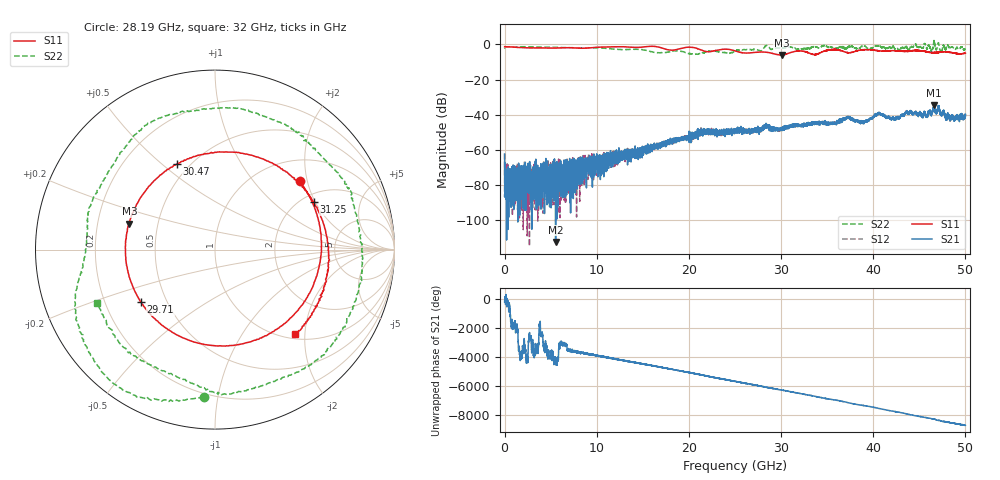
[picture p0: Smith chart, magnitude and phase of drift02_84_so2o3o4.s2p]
!Created with skrf (http://scikit-rf.org).
# Hz S RI R 50.0
!freq ReS11 ImS11 ReS21 ImS21 ReS12 ImS12 ReS22 ImS22
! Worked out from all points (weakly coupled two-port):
!   10001 points, 300 kHz to 50 GHz, reference 50 ohm
!   highest |S21| = -34.53 dB at 46.59 GHz (marker M1); lowest = -112.3 dB at 5.535 GHz (marker M2)
!   lowest |S11| = -6.1 dB at 30.1 GHz (marker M3), VSWR 2.98, Z = 17.1 + j6.55 ohm
!   |S11| at or under -10 dB: nowhere
!   |S22| runs from -5.7 to 2.2 dB; largest |S21 - S12| = 0.0034
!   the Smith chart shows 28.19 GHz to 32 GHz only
!   S11 on the Smith chart (normalised r, x): 28.19 GHz: 1.49, +1.80; 29.71 GHz: 0.36, -0.28; 30.47 GHz: 0.43, +0.56; 31.25 GHz: 2.32, +1.95; 32 GHz: 1.09, -1.79
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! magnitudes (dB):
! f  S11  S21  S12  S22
! 300 kHz  -1.3  -62.4  -62.1  -2.0
! 290.3 MHz  -1.3  -82.1  -72.2  -1.4
! 5.535 GHz  -2.1  -112.3  -70.5  -1.7
! 8.335 GHz  -2.2  -76.9  -68.3  -1.9
! 16.67 GHz  -1.5  -57.3  -59.3  -4.7
! 21.44 GHz  -3.4  -51.3  -49.5  -4.9
! 25 GHz  -3.7  -48.7  -48.9  -3.9
! 28.19 GHz  -4.3  -46.7  -46.9  -1.7
! 29.71 GHz  -5.9  -48.5  -48.6  -2.1
! 30.1 GHz  -6.1  -48.8  -47.4  -2.0
! 30.47 GHz  -5.7  -46.9  -46.6  -1.7
! 31.25 GHz  -4.3  -46.3  -46.4  -1.8
! 32 GHz  -3.7  -46.1  -45.6  -2.8
! 33.34 GHz  -5.5  -44.6  -44.8  -1.5
! 35.61 GHz  -3.0  -45.0  -45.1  -1.6
! 37.29 GHz  -4.7  -41.4  -42.1  -1.2
! 38.92 GHz  -3.1  -44.2  -44.3  -1.4
! 40.67 GHz  -3.6  -39.4  -39.1  -0.8
! 41.67 GHz  -3.6  -41.6  -40.9  -1.9
! 46.59 GHz  -4.8  -34.5  -35.0  1.6
! 48.54 GHz  -4.6  -41.1  -41.5  -1.6
! 50 GHz  -4.9  -39.8  -41.0  -2.7
